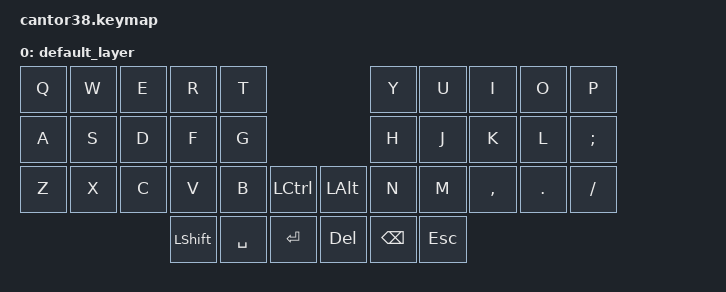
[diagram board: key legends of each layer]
#include <behaviors.dtsi>
#include <dt-bindings/zmk/keys.h>
#include <dt-bindings/zmk/bt.h>

/ {
    keymap {
        compatible = "zmk,keymap";
        default_layer {
            bindings = <
        //╭──────────┬──────────┬──────────┬──────────┬──────────╮                         ╭──────────┬──────────┬──────────┬──────────┬──────────╮
            &kp Q      &kp W      &kp E      &kp R      &kp T                                &kp Y      &kp U      &kp I      &kp O      &kp P
        //├──────────┼──────────┼──────────┼──────────┼──────────┤                         ├──────────┼──────────┼──────────┼──────────┼──────────┤
            &kp A      &kp S      &kp D      &kp F      &kp G                                &kp H      &kp J      &kp K      &kp L      &kp SEMI
        //├──────────┼──────────┼──────────┼──────────┼──────────┼──────────╮   ╭──────────┼──────────┼──────────┼──────────┼──────────┼──────────┤
            &kp Z      &kp X      &kp C      &kp V      &kp B      &kp LCTRL      &kp LALT   &kp N      &kp M      &kp COMMA  &kp DOT    &kp FSLH
        //╰──────────┴──────────┴──────────┼──────────┼──────────┼──────────┤   ├──────────┼──────────┼──────────┼──────────┴──────────┴──────────╯
                                             &kp LSHFT  &kp SPACE  &kp ENTER      &kp DEL    &kp BSPC   &kp ESC
        //                                 ╰──────────┴──────────┴──────────╯   ╰──────────┴──────────┴──────────╯
            >;
        };
    };
};
